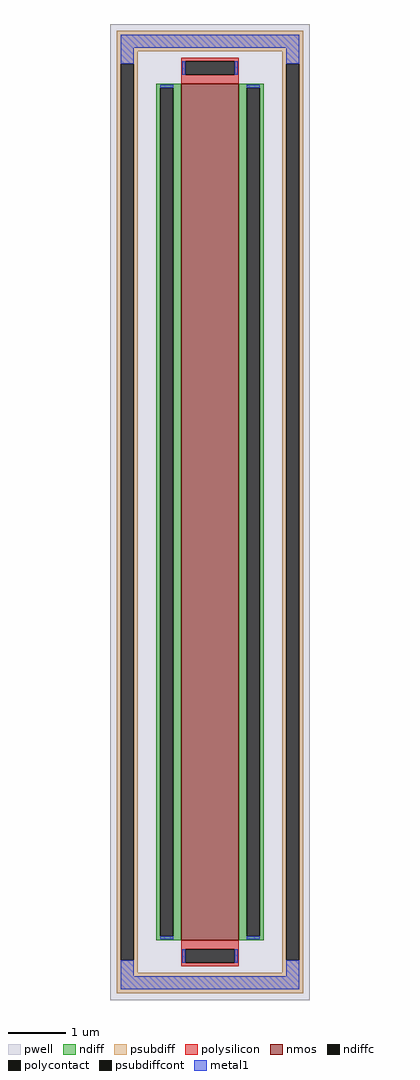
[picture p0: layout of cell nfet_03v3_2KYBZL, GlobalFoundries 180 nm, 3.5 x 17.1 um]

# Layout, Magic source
magic
tech gf180mcuD
magscale 1 10
<< pwell >>
rect -350 -1710 350 1710
<< nmos >>
rect -100 -1500 100 1500
<< ndiff >>
rect -188 1487 -100 1500
rect -188 -1487 -175 1487
rect -129 -1487 -100 1487
rect -188 -1500 -100 -1487
rect 100 1487 188 1500
rect 100 -1487 129 1487
rect 175 -1487 188 1487
rect 100 -1500 188 -1487
<< ndiffc >>
rect -175 -1487 -129 1487
rect 129 -1487 175 1487
<< psubdiff >>
rect -326 1614 326 1686
rect -326 1570 -254 1614
rect -326 -1570 -313 1570
rect -267 -1570 -254 1570
rect 254 1570 326 1614
rect -326 -1614 -254 -1570
rect 254 -1570 267 1570
rect 313 -1570 326 1570
rect 254 -1614 326 -1570
rect -326 -1686 326 -1614
<< psubdiffcont >>
rect -313 -1570 -267 1570
rect 267 -1570 313 1570
<< polysilicon >>
rect -100 1579 100 1592
rect -100 1533 -87 1579
rect 87 1533 100 1579
rect -100 1500 100 1533
rect -100 -1533 100 -1500
rect -100 -1579 -87 -1533
rect 87 -1579 100 -1533
rect -100 -1592 100 -1579
<< polycontact >>
rect -87 1533 87 1579
rect -87 -1579 87 -1533
<< metal1 >>
rect -313 1627 313 1673
rect -313 1570 -267 1627
rect -98 1533 -87 1579
rect 87 1533 98 1579
rect 267 1570 313 1627
rect -175 1487 -129 1498
rect -175 -1498 -129 -1487
rect 129 1487 175 1498
rect 129 -1498 175 -1487
rect -313 -1627 -267 -1570
rect -98 -1579 -87 -1533
rect 87 -1579 98 -1533
rect 267 -1627 313 -1570
rect -313 -1673 313 -1627
<< properties >>
string FIXED_BBOX -290 -1650 290 1650
string gencell nfet_03v3
string library gf180mcu
string parameters w 15.0 l 1.0 m 1 nf 1 diffcov 100 polycov 100 guard 1 glc 1 grc 1 gtc 0 gbc 0 tbcov 100 rlcov 100 topc 1 botc 1 poverlap 0 doverlap 1 lmin 0.28 wmin 0.22 class mosfet full_metal 1 compatible {nfet_03v3 nfet_06v0 nfet_06v0_nvt} ad {int((nf+1)/2) * W/nf * 0.18u} as {int((nf+2)/2) * W/nf * 0.18u} pd {2*int((nf+1)/2) * (W/nf + 0.18u)} ps {2*int((nf+2)/2) * (W/nf + 0.18u)} nrd {0.18u / W} nrs {0.18u / W} sa 0 sb 0 sd 0
<< end >>
